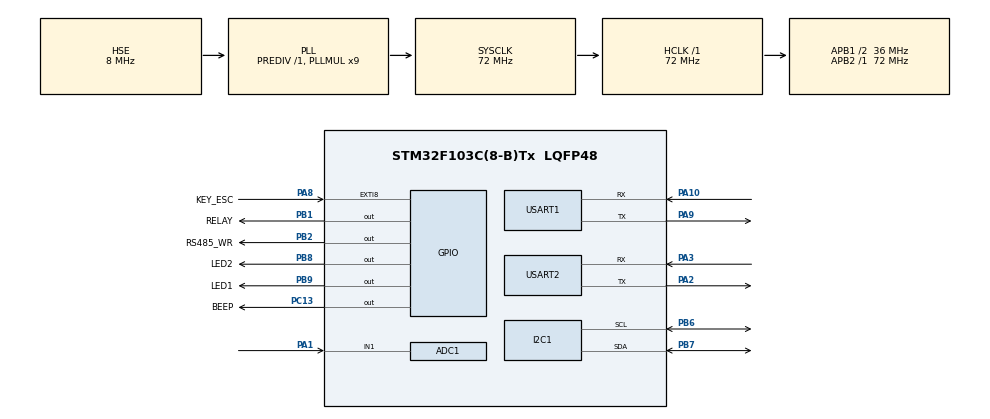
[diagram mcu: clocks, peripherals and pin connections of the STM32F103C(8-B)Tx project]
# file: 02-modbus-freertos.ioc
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ADC1.Channel-6\#ChannelRegularConversion=ADC_CHANNEL_TEMPSENSOR
ADC1.NbrOfConversionFlag=1
ADC1.Rank-6\#ChannelRegularConversion=1
ADC1.SamplingTime-6\#ChannelRegularConversion=ADC_SAMPLETIME_239CYCLES_5
ADC1.master=1
FREERTOS.Tasks01=Modbus,0,128,ModbusTask,Default,NULL,Dynamic,NULL,NULL
FREERTOS.configENABLE_FPU=0
Mcu.Family=STM32F1
Mcu.Name=STM32F103C(8-B)Tx
Mcu.Package=LQFP48
NVIC.EXTI9_5_IRQn=true\:5\:0\:true\:false\:true\:true\:true\:true\:true
NVIC.PriorityGroup=NVIC_PRIORITYGROUP_4
NVIC.TIM1_UP_IRQn=true\:15\:0\:false\:false\:true\:false\:true\:true\:true
NVIC.TIM3_IRQn=true\:5\:0\:true\:false\:false\:true\:true\:true\:true
NVIC.TimeBase=TIM1_UP_IRQn
NVIC.TimeBaseIP=TIM1
NVIC.USART2_IRQn=true\:5\:0\:false\:false\:false\:true\:true\:true\:true
PA1.Signal=ADCx_IN1
PA10.Mode=Asynchronous
PA10.Signal=USART1_RX
PA13.Mode=Serial_Wire
PA13.Signal=SYS_JTMS-SWDIO
PA14.Mode=Serial_Wire
PA14.Signal=SYS_JTCK-SWCLK
PA2.Mode=Asynchronous
PA2.Signal=USART2_TX
PA3.Mode=Asynchronous
PA3.Signal=USART2_RX
PA8.GPIO_Label=KEY_ESC
PA8.GPIO_ModeDefaultEXTI=GPIO_MODE_IT_FALLING
PA8.GPIO_PuPd=GPIO_PULLUP
PA8.Signal=GPXTI8
PA9.Mode=Asynchronous
PA9.Signal=USART1_TX
PB1.GPIO_Label=RELAY
PB1.Signal=GPIO_Output
PB2.GPIO_Label=RS485_WR
PB2.GPIO_Speed=GPIO_SPEED_FREQ_MEDIUM
PB2.Signal=GPIO_Output
PB6.Mode=I2C
PB6.Signal=I2C1_SCL
PB7.Mode=I2C
PB7.Signal=I2C1_SDA
PB8.GPIO_Label=LED2
PB8.PinState=GPIO_PIN_SET
PB8.Signal=GPIO_Output
PB9.GPIO_Label=LED1
PB9.PinState=GPIO_PIN_SET
PB9.Signal=GPIO_Output
PC13-TAMPER-RTC.GPIO_Label=BEEP
PC13-TAMPER-RTC.Signal=GPIO_Output
PD0-OSC_IN.Mode=HSE-External-Oscillator
PD0-OSC_IN.Signal=RCC_OSC_IN
PD1-OSC_OUT.Mode=HSE-External-Oscillator
PD1-OSC_OUT.Signal=RCC_OSC_OUT
ProjectManager.HeapSize=0x200
ProjectManager.StackSize=0x400
ProjectManager.TargetToolchain=MDK-ARM V5.32
RCC.ADCPresc=RCC_ADCPCLK2_DIV6
RCC.AHBFreq_Value=72000000
RCC.APB1CLKDivider=RCC_HCLK_DIV2
RCC.APB1Freq_Value=36000000
RCC.APB1TimFreq_Value=72000000
RCC.APB2Freq_Value=72000000
RCC.APB2TimFreq_Value=72000000
RCC.HCLKFreq_Value=72000000
RCC.PLLMUL=RCC_PLL_MUL9
RCC.PLLSourceVirtual=RCC_PLLSOURCE_HSE
RCC.RTCClockSelection=RCC_RTCCLKSOURCE_LSE
RCC.SYSCLKFreq_VALUE=72000000
RCC.SYSCLKSource=RCC_SYSCLKSOURCE_PLLCLK
RCC.USBFreq_Value=72000000
SH.ADCx_IN1.0=ADC1_IN1,IN1
TIM3.AutoReloadPreload=TIM_AUTORELOAD_PRELOAD_ENABLE
TIM3.Period=100
TIM3.Prescaler=3599
USART1.VirtualMode=VM_ASYNC
USART2.VirtualMode=VM_ASYNC
VP_ADC1_TempSens_Input.Mode=IN-TempSens
VP_FREERTOS_VS_CMSIS_V1.Mode=CMSIS_V1
VP_SYS_VS_tim1.Mode=TIM1
VP_TIM3_VS_ClockSourceINT.Mode=Internal
board=custom

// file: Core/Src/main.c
/* USER CODE BEGIN Header */
/**
  ******************************************************************************
  * @file           : main.c
  * @brief          : Main program body
  ******************************************************************************
  * @attention
  *
  * Copyright (c) 2025 STMicroelectronics.
  * All rights reserved.
  *
  * This software is licensed under terms that can be found in the LICENSE file
  * in the root directory of this software component.
  * If no LICENSE file comes with this software, it is provided AS-IS.
  *
  ******************************************************************************
  */
/* USER CODE END Header */
#include "main.h"
#include "cmsis_os.h"
#include "adc.h"
#include "i2c.h"
#include "tim.h"
#include "usart.h"
#include "gpio.h"

/* USER CODE BEGIN Includes */
#include <stdio.h>
#include "oled.h"
#include "aht20.h"
#include "ina226.h"
#include "mb.h"
#include "modbus.h"
/* USER CODE END Includes */

void SystemClock_Config(void);
void MX_FREERTOS_Init(void);

int main(void)
{

  /* MCU Configuration--------------------------------------------------------*/

  /* Reset of all peripherals, Initializes the Flash interface and the Systick. */
  HAL_Init();

  /* Configure the system clock */
  SystemClock_Config();

  /* Initialize all configured peripherals */
  MX_GPIO_Init();
  MX_USART1_UART_Init();
  MX_I2C1_Init();
  MX_ADC1_Init();
  MX_TIM3_Init();
  MX_USART2_UART_Init();
  /* USER CODE BEGIN 2 */
	printf("Uart1 init is ok\n");
	printf("Modbus Test\n");

	//EEPROM_Test();
	OLED_Init();
	OLED_CLS(); // 清除屏幕显示
	OLED_ShowStr(16,0, (unsigned char*)"Modbus Control", 2);
	AHT20_Init();
	INA226_Init();

  /* USER CODE END 2 */

  /* Call init function for freertos objects (in cmsis_os2.c) */
  MX_FREERTOS_Init();

  /* Start scheduler */
  osKernelStart();

  /* We should never get here as control is now taken by the scheduler */

  /* Infinite loop */
  while (1)
  {

  }
}

void SystemClock_Config(void)
{
  RCC_OscInitTypeDef RCC_OscInitStruct = {0};
  RCC_ClkInitTypeDef RCC_ClkInitStruct = {0};
  RCC_PeriphCLKInitTypeDef PeriphClkInit = {0};

  /** Initializes the RCC Oscillators according to the specified parameters
  * in the RCC_OscInitTypeDef structure.
  */
  RCC_OscInitStruct.OscillatorType = RCC_OSCILLATORTYPE_HSE;
  RCC_OscInitStruct.HSEState = RCC_HSE_ON;
  RCC_OscInitStruct.HSEPredivValue = RCC_HSE_PREDIV_DIV1;
  RCC_OscInitStruct.HSIState = RCC_HSI_ON;
  RCC_OscInitStruct.PLL.PLLState = RCC_PLL_ON;
  RCC_OscInitStruct.PLL.PLLSource = RCC_PLLSOURCE_HSE;
  RCC_OscInitStruct.PLL.PLLMUL = RCC_PLL_MUL9;
  if (HAL_RCC_OscConfig(&RCC_OscInitStruct) != HAL_OK)
  {
    Error_Handler();
  }

  /** Initializes the CPU, AHB and APB buses clocks
  */
  RCC_ClkInitStruct.ClockType = RCC_CLOCKTYPE_HCLK|RCC_CLOCKTYPE_SYSCLK
                              |RCC_CLOCKTYPE_PCLK1|RCC_CLOCKTYPE_PCLK2;
  RCC_ClkInitStruct.SYSCLKSource = RCC_SYSCLKSOURCE_PLLCLK;
  RCC_ClkInitStruct.AHBCLKDivider = RCC_SYSCLK_DIV1;
  RCC_ClkInitStruct.APB1CLKDivider = RCC_HCLK_DIV2;
  RCC_ClkInitStruct.APB2CLKDivider = RCC_HCLK_DIV1;

  if (HAL_RCC_ClockConfig(&RCC_ClkInitStruct, FLASH_LATENCY_2) != HAL_OK)
  {
    Error_Handler();
  }
  PeriphClkInit.PeriphClockSelection = RCC_PERIPHCLK_ADC;
  PeriphClkInit.AdcClockSelection = RCC_ADCPCLK2_DIV6;
  if (HAL_RCCEx_PeriphCLKConfig(&PeriphClkInit) != HAL_OK)
  {
    Error_Handler();
  }
}

void HAL_TIM_PeriodElapsedCallback(TIM_HandleTypeDef *htim)
{
  /* USER CODE BEGIN Callback 0 */
	static uint32_t Count500ms = 0;
  /* USER CODE END Callback 0 */
  if (htim->Instance == TIM1)
  {
    HAL_IncTick();
  }
  /* USER CODE BEGIN Callback 1 */
	if (htim->Instance == TIM1)
  {
		Count500ms++;
		if(Count500ms >= 500)
		{
			Count500ms = 0;
			Modify_SlaveAddress_Flag = 1;
		}
  }
  /* USER CODE END Callback 1 */
}

void Error_Handler(void)
{
  __disable_irq();
  while (1)
  {
  }
}

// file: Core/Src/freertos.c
/* USER CODE BEGIN Header */
/**
  ******************************************************************************
  * File Name          : freertos.c
  * Description        : Code for freertos applications
  ******************************************************************************
  * @attention
  *
  * Copyright (c) 2026 STMicroelectronics.
  * All rights reserved.
  *
  * This software is licensed under terms that can be found in the LICENSE file
  * in the root directory of this software component.
  * If no LICENSE file comes with this software, it is provided AS-IS.
  *
  ******************************************************************************
  */
/* USER CODE END Header */

#include "FreeRTOS.h"
#include "task.h"
#include "main.h"
#include "cmsis_os.h"

/* USER CODE BEGIN Includes */
#include "modbus.h"
#include "mb.h"
/* USER CODE END Includes */

osThreadId ModbusHandle;

void ModbusTask(void const * argument);

void MX_FREERTOS_Init(void); /* (MISRA C 2004 rule 8.1) */

/* GetIdleTaskMemory prototype (linked to static allocation support) */
void vApplicationGetIdleTaskMemory( StaticTask_t **ppxIdleTaskTCBBuffer, StackType_t **ppxIdleTaskStackBuffer, uint32_t *pulIdleTaskStackSize );

/* USER CODE BEGIN GET_IDLE_TASK_MEMORY */
static StaticTask_t xIdleTaskTCBBuffer;
static StackType_t xIdleStack[configMINIMAL_STACK_SIZE];

void vApplicationGetIdleTaskMemory( StaticTask_t **ppxIdleTaskTCBBuffer, StackType_t **ppxIdleTaskStackBuffer, uint32_t *pulIdleTaskStackSize )
{
  *ppxIdleTaskTCBBuffer = &xIdleTaskTCBBuffer;
  *ppxIdleTaskStackBuffer = &xIdleStack[0];
  *pulIdleTaskStackSize = configMINIMAL_STACK_SIZE;
  /* place for user code */
}
/* USER CODE END GET_IDLE_TASK_MEMORY */

void MX_FREERTOS_Init(void) {

  /* Create the thread(s) */
  /* definition and creation of Modbus */
  osThreadDef(Modbus, ModbusTask, osPriorityNormal, 0, 128);
  ModbusHandle = osThreadCreate(osThread(Modbus), NULL);

}

void ModbusTask(void const * argument)
{
  /* USER CODE BEGIN ModbusTask */
	Modbus_Init();

  /* Infinite loop */
  for(;;)
  {
		eMBPoll();// 轮训查询
		Modbus_Parse(); // 500ms 周期性刷新
    osDelay(10);
  }
  /* USER CODE END ModbusTask */
}
